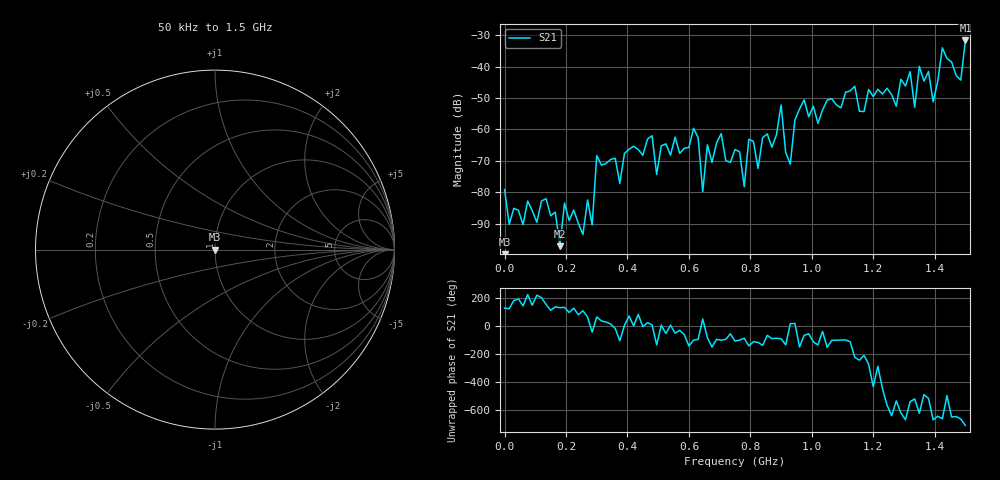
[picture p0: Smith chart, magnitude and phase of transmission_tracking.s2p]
! Created with skrf 1.8.0 (http://scikit-rf.org).
# Hz S RI R 50.0
!freq ReS11 ImS11 ReS21 ImS21 ReS12 ImS12 ReS22 ImS22
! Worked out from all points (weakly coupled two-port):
!   101 points, 50 kHz to 1.5 GHz, reference 50 ohm
!   highest |S21| = -31.70 dB at 1.5 GHz (marker M1); lowest = -97.2 dB at 180 MHz (marker M2)
!   lowest |S11| = - dB at 50 kHz (marker M3), VSWR 1.00, Z = 50 + j0 ohm
!   |S11| at or under -10 dB: start of sweep to end of sweep
!   S12 and S22 are empty: the file has one direction only
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50000  0 0  -6.25e-05 9.07e-05  0 0  0 0
1.80044e8  0 0  -8.5e-06 1.1e-05  0 0  0 0
2.550415e8  0 0  -5.84e-06 2.05e-05  0 0  0 0
5.10033e8  0 0  0.000548 4.02e-05  0 0  0 0
6.150295e8  0 0  -0.000245 -0.00101  0 0  0 0
6.450285e8  0 0  6.91e-05 7.51e-05  0 0  0 0
6.60028e8  0 0  5.02e-05 -0.000565  0 0  0 0
7.50025e8  0 0  -0.000161 -0.000451  0 0  0 0
7.80024e8  0 0  5.45e-07 -0.000123  0 0  0 0
7.950235e8  0 0  -0.000561 -0.00041  0 0  0 0
8.250225e8  0 0  -0.000117 -0.000209  0 0  0 0
9.0002e8  0 0  -0.000142 -0.00244  0 0  0 0
9.30019e8  0 0  0.000273 6.35e-05  0 0  0 0
1.005016e9  0 0  -0.00102 -0.0021  0 0  0 0
1.260008e9  0 0  0.000692 0.00349  0 0  0 0
1.320006e9  0 0  -0.00827 0.000244  0 0  0 0
1.335006e9  0 0  -0.00213 -0.000707  0 0  0 0
1.350005e9  0 0  -0.000993 0.01  0 0  0 0
1.395004e9  0 0  0.00181 0.00206  0 0  0 0
1.425002e9  0 0  0.0107 0.0167  0 0  0 0
1.485e9  0 0  0.00352 0.00496  0 0  0 0
1.5e9  0 0  0.0257 0.00412  0 0  0 0
